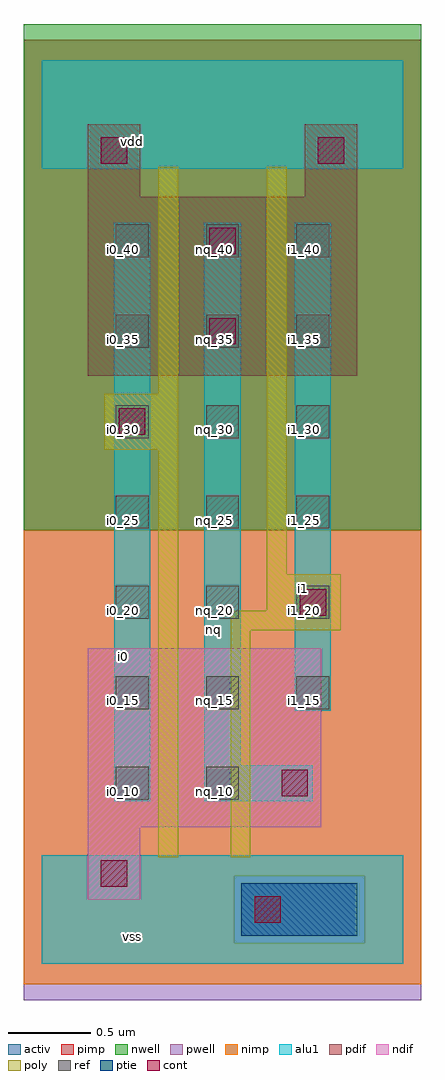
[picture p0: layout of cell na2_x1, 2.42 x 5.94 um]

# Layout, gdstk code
import gdstk
lib = gdstk.Library(unit=1e-6, precision=2.5e-09)
def R(c, l, rs):  # rectangles x0, y0, x1, y1
    for r in rs: c.add(gdstk.rectangle(r[:2], r[2:], *l))
def A(c, l, x, y, w, h, nx, ny, dx, dy):  # array of equal rectangles
    R(c, l, [(x+i*dx, y+j*dy, x+i*dx+w, y+j*dy+h) for i in range(nx) for j in range(ny)])
ndif = (3, 0)
pdif = (4, 0)
ptie = (6, 0)
ref = (24, 0)
cont = (25, 0)
pwell = (41, 0)
nwell = (42, 0)
activ = (43, 0)
pimp = (44, 0)
nimp = (45, 0)
poly = (46, 0)
alu1 = (49, 0)

na2_x1 = lib.new_cell('na2_x1')
R(na2_x1, ndif, [(0.28,0.39,0.6,0.83), (0.28,0.39,0.6,0.83), (0.28,0.83,1.7,1.92), (0.28,0.83,1.7,1.92)])
R(na2_x1, pdif, [(0.28,3.58,1.92,4.67), (0.28,3.58,1.92,4.67), (0.28,4.67,0.6,5.11), (0.28,4.67,0.6,5.11), (1.6,4.67,1.92,5.11), (1.6,4.67,1.92,5.11)])
R(na2_x1, ptie, [(1.215,0.17,1.92,0.49), (1.215,0.17,1.92,0.49)])
A(na2_x1, ref, 0.45, 1.55, 0.2, 0.2, 3, 6, 0.55, 0.55)
R(na2_x1, ref, [(0.45,1,0.65,1.2), (1,1,1.2,1.2)])
R(na2_x1, cont, [(1.295,0.25,1.455,0.41), (0.36,0.47,0.52,0.63), (1.46,1.02,1.62,1.18), (1.57,2.12,1.73,2.28), (0.47,3.22,0.63,3.38), (1.02,3.77,1.18,3.93), (1.02,4.32,1.18,4.48), (0.36,4.87,0.52,5.03), (1.68,4.87,1.84,5.03)])
R(na2_x1, pwell, [(-0.11,-0.22,2.31,2.64)])
R(na2_x1, nwell, [(-0.11,2.64,2.31,5.72)])
R(na2_x1, activ, [(1.215,0.17,1.92,0.49), (1.215,0.17,1.92,0.49), (0.28,0.39,0.6,0.83), (0.28,0.39,0.6,0.83), (0.28,0.83,1.7,1.92), (0.28,0.83,1.7,1.92), (0.28,3.58,1.92,4.67), (0.28,3.58,1.92,4.67), (0.28,4.67,0.6,5.11), (0.28,4.67,0.6,5.11), (1.6,4.67,1.92,5.11), (1.6,4.67,1.92,5.11)])
R(na2_x1, pimp, [(1.17,0.125,1.965,0.535), (-0.11,2.64,2.31,5.625)])
R(na2_x1, nimp, [(-0.11,-0.125,2.31,0.125), (-0.11,0.125,1.17,0.535), (1.965,0.125,2.31,0.535), (-0.11,0.535,2.31,2.64)])
R(na2_x1, poly, [(0.71,0.65,0.83,3.13), (1.15,0.65,1.27,2.03), (1.15,2.03,1.82,2.15), (1.37,2.15,1.82,2.37), (1.37,2.37,1.49,4.85), (0.38,3.13,0.83,3.47), (0.71,3.47,0.83,4.85)])
R(na2_x1, alu1, [(0,0,2.2,0.66), (0.44,0.99,0.66,4.51), (0.99,0.99,1.65,1.21), (0.99,1.21,1.21,4.51), (1.54,1.54,1.76,4.51), (0,4.84,2.2,5.5)])
na2_x1.add(gdstk.Label('vss', (0.55,0.165), layer=49, texttype=0))
na2_x1.add(gdstk.Label('i1', (1.595,2.2825), layer=49, texttype=0))
na2_x1.add(gdstk.Label('nq', (1.045,2.035), layer=49, texttype=0))
na2_x1.add(gdstk.Label('i0', (0.495,1.87), layer=49, texttype=0))
na2_x1.add(gdstk.Label('vdd', (0.55,5.005), layer=49, texttype=0))
na2_x1.add(gdstk.Label('nq_10', (1.05,1.05), layer=24, texttype=0))
na2_x1.add(gdstk.Label('nq_15', (1.05,1.6), layer=24, texttype=0))
na2_x1.add(gdstk.Label('nq_20', (1.05,2.15), layer=24, texttype=0))
na2_x1.add(gdstk.Label('nq_25', (1.05,2.7), layer=24, texttype=0))
na2_x1.add(gdstk.Label('nq_30', (1.05,3.25), layer=24, texttype=0))
na2_x1.add(gdstk.Label('nq_35', (1.05,3.8), layer=24, texttype=0))
na2_x1.add(gdstk.Label('nq_40', (1.05,4.35), layer=24, texttype=0))
na2_x1.add(gdstk.Label('i1_40', (1.6,4.35), layer=24, texttype=0))
na2_x1.add(gdstk.Label('i1_35', (1.6,3.8), layer=24, texttype=0))
na2_x1.add(gdstk.Label('i1_30', (1.6,3.25), layer=24, texttype=0))
na2_x1.add(gdstk.Label('i1_25', (1.6,2.7), layer=24, texttype=0))
na2_x1.add(gdstk.Label('i1_20', (1.6,2.15), layer=24, texttype=0))
na2_x1.add(gdstk.Label('i1_15', (1.6,1.6), layer=24, texttype=0))
na2_x1.add(gdstk.Label('i0_10', (0.5,1.05), layer=24, texttype=0))
na2_x1.add(gdstk.Label('i0_15', (0.5,1.6), layer=24, texttype=0))
na2_x1.add(gdstk.Label('i0_20', (0.5,2.15), layer=24, texttype=0))
na2_x1.add(gdstk.Label('i0_25', (0.5,2.7), layer=24, texttype=0))
na2_x1.add(gdstk.Label('i0_30', (0.5,3.25), layer=24, texttype=0))
na2_x1.add(gdstk.Label('i0_35', (0.5,3.8), layer=24, texttype=0))
na2_x1.add(gdstk.Label('i0_40', (0.5,4.35), layer=24, texttype=0))

lib.write_gds('na2_x1.gds')
